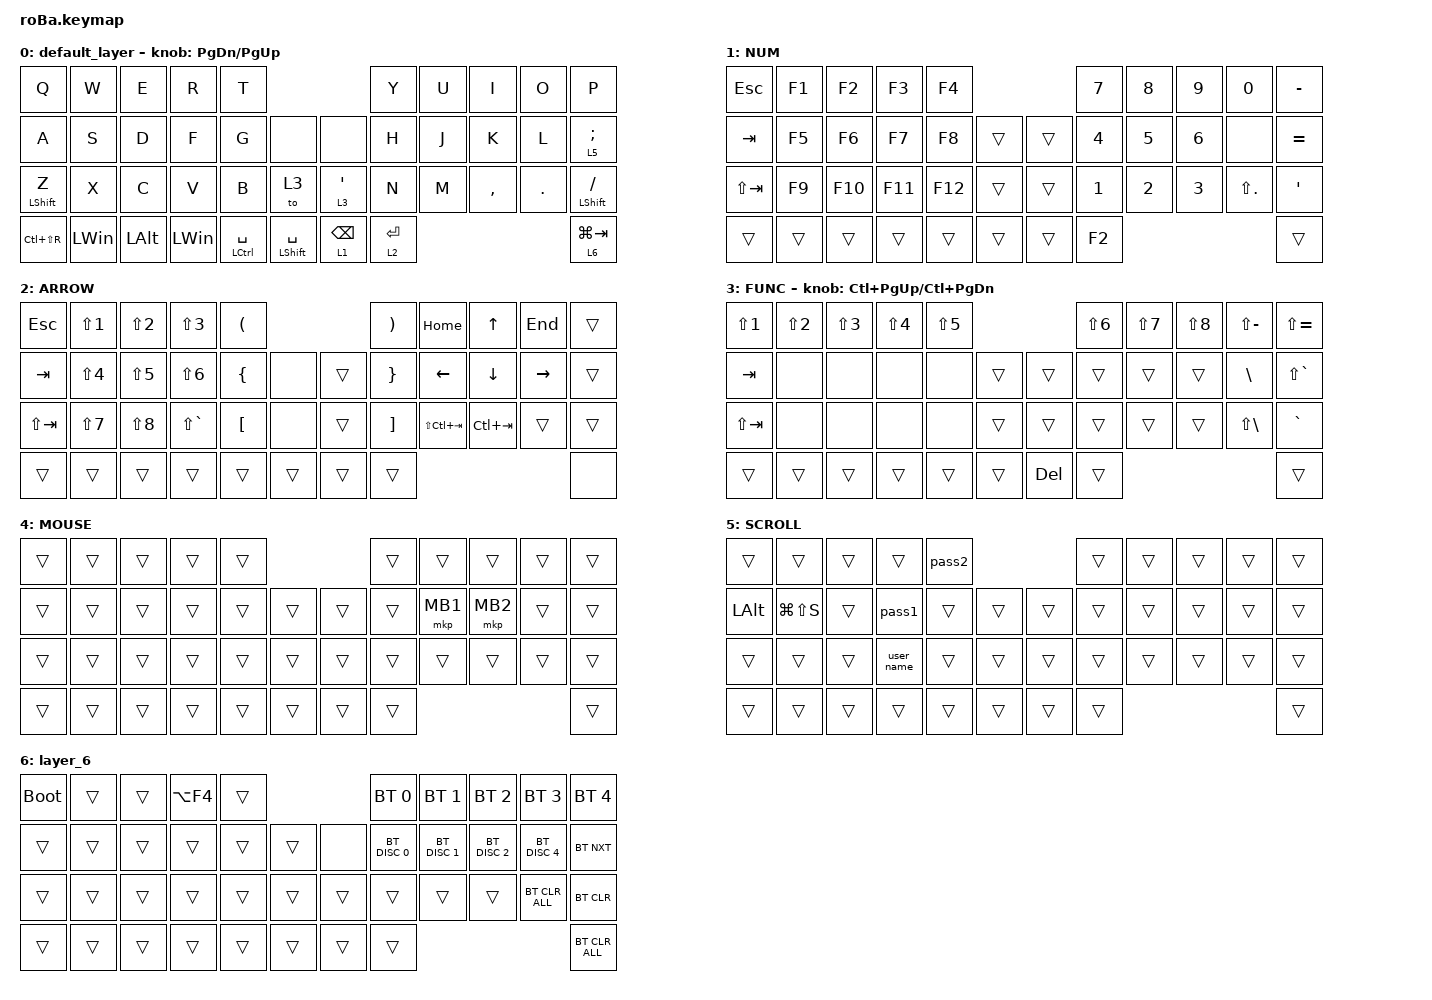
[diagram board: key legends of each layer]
#include <input/processors.dtsi>
#include <behaviors.dtsi>
#include <dt-bindings/zmk/bt.h>
#include <dt-bindings/zmk/keys.h>
#include <dt-bindings/zmk/pointing.h>

#define MOUSE 5

/ {
    macros {
        exit_AML: exit_AML {
            compatible = "zmk,behavior-macro";
            wait-ms = <0>;
            tap-ms = <0>;
            #binding-cells = <0>;
            bindings = <&tog_off MOUSE>;
            label = "exit_AML";
        };

        kp_exit_AML: kp_exit_AML {
            compatible = "zmk,behavior-macro-one-param";
            wait-ms = <0>;
            tap-ms = <0>;
            #binding-cells = <1>;
            bindings = <&macro_param_1to1 &kp MACRO_PLACEHOLDER &exit_AML>;
            label = "KP_exit_AML";
        };
    };

    behaviors {
        tog_off: toggle_layer_off {
            compatible = "zmk,behavior-toggle-layer";
            #binding-cells = <1>;
            display-name = "Toggle Layer Off";
            toggle-mode = "off";
        };

        mt_exit_AML_on_tap: mt_exit_AML_on_tap {
            compatible = "zmk,behavior-hold-tap";
            label = "MT_exit_AML_ON_TAP";
            bindings = <&kp>, <&kp_exit_AML>;

            #binding-cells = <2>;
            tapping-term-ms = <200>;
            flavor = "balanced";
            quick-tap-ms = <200>;
        };
    };
};

&mkp_input_listener { input-processors = <&zip_temp_layer 4 10000>; };

&mt {
    flavor = "balanced";
    quick-tap-ms = <0>;
};

&trackball {
    // Input Processorを使用するため、下記無効
    //automouse-layer = <4>;

    scroll-layers = <5>;

    // arrows {
    //     layers = <3>;
    //     bindings =
    //         <&kp RIGHT_ARROW>,
    //         <&kp LEFT_ARROW>,
    //         <&kp UP_ARROW>,
    //         <&kp DOWN_ARROW>;
    //     tick = <10>;
    //     wait-ms = <5>;
    //     tap-ms = <5>;
    // };
};

/ {
    combos {
        compatible = "zmk,combos";

        tab {
            bindings = <&kp TAB>;
            key-positions = <11 12>;
        };

        shift_tab {
            bindings = <&kp LS(TAB)>;
            key-positions = <12 13>;
        };

        lalt {
            bindings = <&kp LEFT_ALT>;
            key-positions = <11 10>;
        };

        eq {
            bindings = <&kp EQUAL>;
            key-positions = <24 25>;
        };

        none {
            bindings = <&none>;
            key-positions = <20 21>;
        };
    };

    macros {
        to_layer_0: to_layer_0 {
            compatible = "zmk,behavior-macro-one-param";
            #binding-cells = <1>;
            bindings = <&to 0 &macro_param_1to1 &kp MACRO_PLACEHOLDER>;
            label = "TO_LAYER_0";
        };

        pass1: pass1 {
            compatible = "zmk,behavior-macro";
            #binding-cells = <0>;
            bindings = <&none &kp EXCL &kp LS(O) &kp T &kp N1 &kp N2 &kp N3 &kp N4 &kp Q &kp W &kp E &kp R &kp J &kp K>;
            label = "PASS1";
        };

        pass2: pass2 {
            compatible = "zmk,behavior-macro";
            #binding-cells = <0>;
            bindings = <&none &kp C &kp LS(Y) &kp N9 &kp H &kp N5 &kp LS(H) &kp G &kp LS(W)>;
            label = "PASS2";
        };

        user_name: user_name {
            compatible = "zmk,behavior-macro";
            #binding-cells = <0>;
            bindings = <&none &kp H &kp I &kp R &kp O &kp K &kp I &kp UNDER &kp N &kp A &kp G &kp A &kp O>;
            label = "USER_NAME";
        };

        new_macro: new_macro {
            compatible = "zmk,behavior-macro";
            #binding-cells = <0>;
            bindings = <&none>;
            label = "NEW_MACRO";
        };
    };

    behaviors {
        lt_to_layer_0: lt_to_layer_0 {
            compatible = "zmk,behavior-hold-tap";
            label = "LAYER_TAP_TO_0";
            bindings = <&mo>, <&to_layer_0>;

            #binding-cells = <2>;
            tapping-term-ms = <200>;
        };
    };

    keymap {
        compatible = "zmk,keymap";

        default_layer {
            bindings = <
&kp Q             &kp W         &kp E         &kp R         &kp T                                                       &kp Y        &kp U  &kp I      &kp O    &kp P
&kp A             &kp S         &kp D         &kp F         &kp G            &none                     &none            &kp H        &kp J  &kp K      &kp L    &lt 5 SEMICOLON
&mt LEFT_SHIFT Z  &kp X         &kp C         &kp V         &kp B            &to 3                     &lt 3 SQT        &kp N        &kp M  &kp COMMA  &kp DOT  &mt LEFT_SHIFT SLASH
&kp LC(LS(R))     &kp LEFT_WIN  &kp LEFT_ALT  &kp LEFT_WIN  &mt LCTRL SPACE  &mt LEFT_SHIFT SPACE      &lt 1 BACKSPACE  &lt 2 ENTER                             &lt 6 LG(TAB)
            >;

            sensor-bindings = <&inc_dec_kp PAGE_DOWN PAGE_UP>;
        };

        NUM {
            bindings = <
&kp ESCAPE   &kp F1  &kp F2   &kp F3   &kp F4                       &kp NUMBER_7  &kp NUMBER_8  &kp NUMBER_9  &kp NUMBER_0    &kp MINUS
&kp TAB      &kp F5  &kp F6   &kp F7   &kp F8   &trans      &trans  &kp N4        &kp NUMBER_5  &kp N6        &none           &kp EQUAL
&kp LS(TAB)  &kp F9  &kp F10  &kp F11  &kp F12  &trans      &trans  &kp N1        &kp N2        &kp N3        &kp LS(PERIOD)  &kp SINGLE_QUOTE
&trans       &trans  &trans   &trans   &trans   &trans      &trans  &kp F2                                                    &trans
            >;
        };

        ARROW {
            bindings = <
&kp ESCAPE   &kp LS(N1)  &kp LS(N2)  &kp LS(N3)     &kp LEFT_PARENTHESIS                      &kp RIGHT_PARENTHESIS  &kp HOME         &kp UP_ARROW    &kp END          &trans
&kp TAB      &kp LS(N4)  &kp LS(N5)  &kp LS(N6)     &kp LEFT_BRACE        &none       &trans  &kp RIGHT_BRACE        &kp LEFT_ARROW   &kp DOWN_ARROW  &kp RIGHT_ARROW  &trans
&kp LS(TAB)  &kp LS(N7)  &kp LS(N8)  &kp LS(GRAVE)  &kp LEFT_BRACKET      &none       &trans  &kp RIGHT_BRACKET      &kp LS(LC(TAB))  &kp LC(TAB)     &trans           &trans
&trans       &trans      &trans      &trans         &trans                &trans      &trans  &trans                                                                   &none
            >;
        };

        FUNC {
            bindings = <
&kp LS(N1)   &kp LS(N2)  &kp LS(N3)  &kp LS(N4)  &kp LS(N5)                          &kp LS(N6)  &kp LS(N7)  &kp LS(N8)  &kp LS(MINUS)      &kp LS(EQUAL)
&kp TAB      &none       &none       &none       &none       &trans      &trans      &trans      &trans      &trans      &kp BACKSLASH      &kp LS(GRAVE)
&kp LS(TAB)  &none       &none       &none       &none       &trans      &trans      &trans      &trans      &trans      &kp LS(BACKSLASH)  &kp GRAVE
&trans       &trans      &trans      &trans      &trans      &trans      &kp DELETE  &trans                                                 &trans
            >;

            sensor-bindings = <&inc_dec_kp LC(PAGE_UP) LC(PAGE_DOWN)>;
        };

        MOUSE {
            bindings = <
&trans  &trans  &trans  &trans  &trans                      &trans  &trans    &trans    &trans  &trans
&trans  &trans  &trans  &trans  &trans  &trans      &trans  &trans  &mkp MB1  &mkp MB2  &trans  &trans
&trans  &trans  &trans  &trans  &trans  &trans      &trans  &trans  &trans    &trans    &trans  &trans
&trans  &trans  &trans  &trans  &trans  &trans      &trans  &trans                              &trans
            >;
        };

        SCROLL {
            bindings = <
&trans        &trans         &trans  &trans      &pass2                      &trans  &trans  &trans  &trans  &trans
&kp LEFT_ALT  &kp LG(LS(S))  &trans  &pass1      &trans  &trans      &trans  &trans  &trans  &trans  &trans  &trans
&trans        &trans         &trans  &user_name  &trans  &trans      &trans  &trans  &trans  &trans  &trans  &trans
&trans        &trans         &trans  &trans      &trans  &trans      &trans  &trans                          &trans
            >;
        };

        layer_6 {
            bindings = <
&bootloader  &trans  &trans  &kp LA(F4)  &trans                      &bt BT_SEL 0   &bt BT_SEL 1   &bt BT_SEL 2   &bt BT_SEL 3    &bt BT_SEL 4
&trans       &trans  &trans  &trans      &trans  &trans      &none   &bt BT_DISC 0  &bt BT_DISC 1  &bt BT_DISC 2  &bt BT_DISC 4   &bt BT_NXT
&trans       &trans  &trans  &trans      &trans  &trans      &trans  &trans         &trans         &trans         &bt BT_CLR_ALL  &bt BT_CLR
&trans       &trans  &trans  &trans      &trans  &trans      &trans  &trans                                                       &bt BT_CLR_ALL
            >;
        };
    };
};
